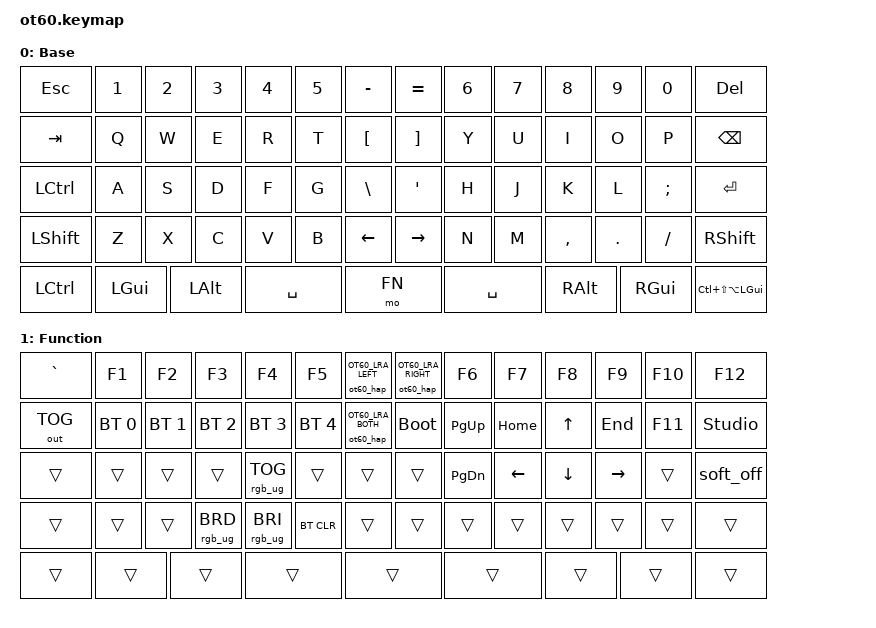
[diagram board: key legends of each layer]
/* SPDX-License-Identifier: MIT */

#include <behaviors.dtsi>
#include <dt-bindings/zmk/bt.h>
#include <dt-bindings/zmk/keys.h>
#include <dt-bindings/zmk/ot60-haptics.h>
#include <dt-bindings/zmk/outputs.h>
#include <dt-bindings/zmk/rgb.h>

#define FN 1

/ {
    behaviors {
        ot60_hap: ot60-haptics {
            compatible = "phdesign,ot60-haptics";
            #binding-cells = <1>;
            display-name = "Haptic Click";
        };
    };

    keymap {
        compatible = "zmk,keymap";

        base {
            display-name = "Base";
            bindings = <
                &kp ESC   &kp N1   &kp N2   &kp N3    &kp N4  &kp N5  &kp MINUS &kp EQUAL &kp N6  &kp N7   &kp N8   &kp N9  &kp N0    &kp DEL
                &kp TAB   &kp Q    &kp W    &kp E     &kp R   &kp T   &kp LBKT  &kp RBKT  &kp Y   &kp U    &kp I    &kp O   &kp P     &kp BSPC
                &kp LCTRL &kp A    &kp S    &kp D     &kp F   &kp G   &kp BSLH  &kp SQT   &kp H   &kp J    &kp K    &kp L   &kp SEMI  &kp RET
                &kp LSHFT &kp Z    &kp X    &kp C     &kp V   &kp B   &kp LEFT  &kp RIGHT  &kp N   &kp M    &kp COMMA &kp DOT &kp FSLH &kp RSHFT
                &kp LCTRL &kp LGUI &kp LALT &kp SPACE                &mo FN               &kp SPACE        &kp RALT &kp RGUI &kp LC(LS(LA(LGUI)))
            >;
        };

        function {
            display-name = "Function";
            bindings = <
                &kp GRAVE   &kp F1      &kp F2      &kp F3      &kp F4      &kp F5    &ot60_hap OT60_LRA_LEFT &ot60_hap OT60_LRA_RIGHT &kp F6 &kp F7  &kp F8  &kp F9   &kp F10   &kp F12
                &out OUT_TOG &bt BT_SEL 0 &bt BT_SEL 1 &bt BT_SEL 2 &bt BT_SEL 3 &bt BT_SEL 4 &ot60_hap OT60_LRA_BOTH &bootloader &kp PG_UP &kp HOME &kp UP &kp END &kp F11 &studio_unlock
                &trans      &trans       &trans       &trans       &rgb_ug RGB_TOG &trans &trans &trans &kp PG_DN &kp LEFT &kp DOWN &kp RIGHT &trans &soft_off
                &trans      &trans       &trans       &rgb_ug RGB_BRD &rgb_ug RGB_BRI &bt BT_CLR &trans &trans &trans &trans &trans &trans &trans &trans
                &trans      &trans       &trans       &trans       &trans  &trans   &trans    &trans  &trans
            >;
        };
    };
};
